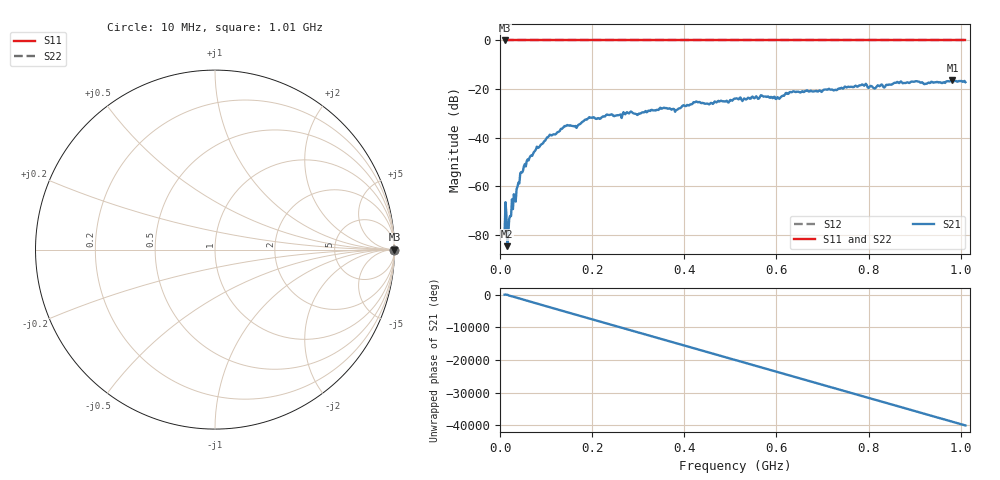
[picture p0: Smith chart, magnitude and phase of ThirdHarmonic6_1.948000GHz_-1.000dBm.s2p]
! 8/16/2025 11:27:43 PM
! C:\ANRITSUVNA\TEMP\TEMP.S2P
! CHANNEL.1
! TR.MEASUREMENT
! RAW.DATA
! RF.CORRECTION.OFF
! AVERAGING.OFF
! IF.BANDWIDTH: 5KHZ
! SWEEPTYPE:  FREQ.SWEEP(Linear)
! Reference Plane Port Info
! PORT:  PORT1  PORT2
! DISTANCE:  0  m  0  m
! TIME:  0  s  0  s
! PHASE.OFFSET:  0  deg.  0  deg.
! LOSS:  0  dB  0  dB
! REF.LOSS:  0  dB  0  dB
! REF.FREQ:  0  Hz  0  Hz
! Power Info
! POWER:  -20  dBm  -20  dBm
! EFF.POWER:  -20  dBm  -20  dBm
! SOURCE.ATTEN:  0  dB  0  dB
! TEST.ATTEN:  0  dB  0  dB
# GHZ S RI R 50.0
! FREQ.GHZ  S11RE  S11IM  S21RE  S21IM  S12RE  S12IM  S22RE  S22IM
!; PortSelection: Port_12
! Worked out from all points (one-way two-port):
!   501 points, 10 MHz to 1.01 GHz, reference 50 ohm
!   highest |S21| = -16.41 dB at 982 MHz (marker M1); lowest = -84.6 dB at 16 MHz (marker M2)
!   lowest |S11| = 0.0 dB at 10 MHz (marker M3)
!   |S11| at or under -10 dB: nowhere
!   |S22| runs from 0.0 to 0.0 dB; largest |S21 - S12| = 1.1
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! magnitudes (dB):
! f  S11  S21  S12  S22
! 10 MHz  0.0  -79.1  0.0  0.0
! 16 MHz  0.0  -84.6  0.0  0.0
! 20 MHz  0.0  -73.3  0.0  0.0
! 26 MHz  0.0  -65.3  0.0  0.0
! 48 MHz  0.0  -54.3  0.0  0.0
! 76 MHz  0.0  -45.5  0.0  0.0
! 106 MHz  0.0  -39.4  0.0  0.0
! 142 MHz  0.0  -35.3  0.0  0.0
! 164 MHz  0.0  -35.2  0.0  0.0
! 178 MHz  0.0  -33.6  0.0  0.0
! 196 MHz  0.0  -31.8  0.0  0.0
! 344 MHz  0.0  -28.6  0.0  0.0
! 382 MHz  0.0  -28.7  0.0  0.0
! 424 MHz  0.0  -25.4  0.0  0.0
! 458 MHz  0.0  -25.7  0.0  0.0
! 510 MHz  0.0  -23.9  0.0  0.0
! 602 MHz  0.0  -23.3  0.0  0.0
! 634 MHz  0.0  -21.2  0.0  0.0
! 678 MHz  0.0  -21.0  0.0  0.0
! 844 MHz  0.0  -18.1  0.0  0.0
! 982 MHz  0.0  -16.4  0.0  0.0
! 1.01 GHz  0.0  -17.2  0.0  0.0
